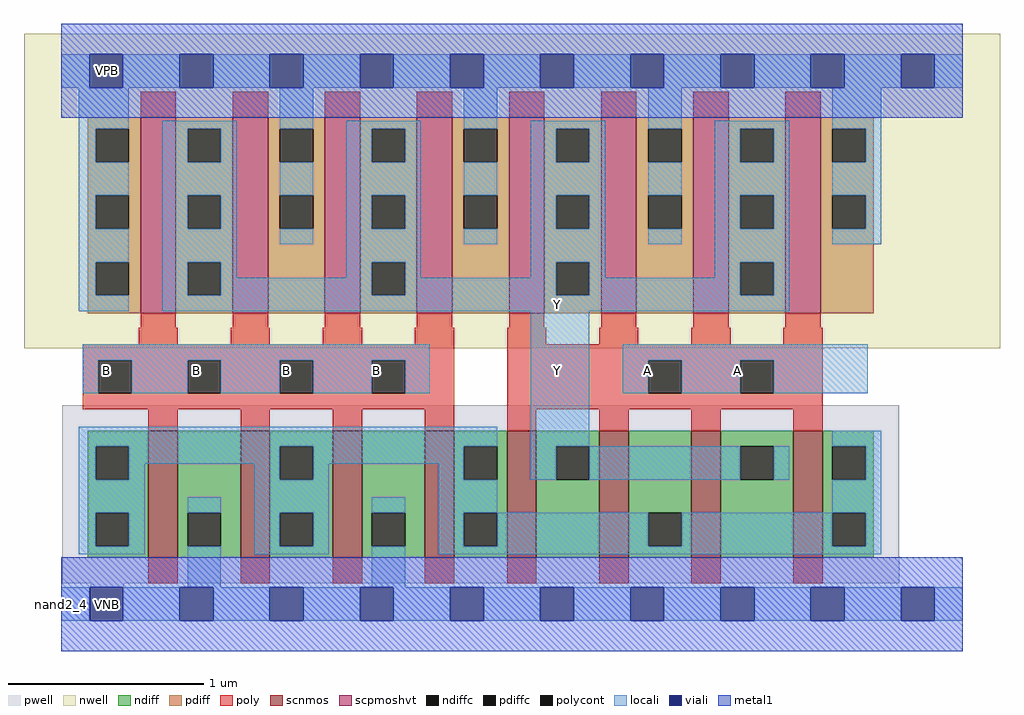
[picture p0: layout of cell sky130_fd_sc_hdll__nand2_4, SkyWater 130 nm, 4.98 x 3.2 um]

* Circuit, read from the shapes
.subckt sky130_fd_sc_hdll__nand2_4 A B VGND VNB VPB VPWR Y
XM1 VGND B n1 VNB sky130_fd_pr__nfet_01v8 w=0.65 l=0.15 m=4
XM2 Y A n1 VNB sky130_fd_pr__nfet_01v8 w=0.65 l=0.15 m=4
XM3 Y B VPWR VPB sky130_fd_pr__pfet_01v8_hvt w=1 l=0.18 m=4
XM4 Y A VPWR VPB sky130_fd_pr__pfet_01v8_hvt w=1 l=0.18 m=4
.ends

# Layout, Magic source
magic
tech sky130A
magscale 1 2
<< nwell >>
rect -38 261 958 582
<< pwell >>
rect 1 21 855 203
rect 30 -17 64 21
<< scnmos >>
rect 89 47 119 177
rect 183 47 213 177
rect 277 47 307 177
rect 371 47 401 177
rect 455 47 485 177
rect 549 47 579 177
rect 643 47 673 177
rect 747 47 777 177
<< scpmoshvt >>
rect 81 297 117 497
rect 175 297 211 497
rect 269 297 305 497
rect 363 297 399 497
rect 457 297 493 497
rect 551 297 587 497
rect 645 297 681 497
rect 739 297 775 497
<< ndiff >>
rect 27 161 89 177
rect 27 127 35 161
rect 69 127 89 161
rect 27 93 89 127
rect 27 59 35 93
rect 69 59 89 93
rect 27 47 89 59
rect 119 93 183 177
rect 119 59 129 93
rect 163 59 183 93
rect 119 47 183 59
rect 213 161 277 177
rect 213 127 223 161
rect 257 127 277 161
rect 213 93 277 127
rect 213 59 223 93
rect 257 59 277 93
rect 213 47 277 59
rect 307 93 371 177
rect 307 59 317 93
rect 351 59 371 93
rect 307 47 371 59
rect 401 161 455 177
rect 401 127 411 161
rect 445 127 455 161
rect 401 93 455 127
rect 401 59 411 93
rect 445 59 455 93
rect 401 47 455 59
rect 485 161 549 177
rect 485 127 505 161
rect 539 127 549 161
rect 485 47 549 127
rect 579 93 643 177
rect 579 59 599 93
rect 633 59 643 93
rect 579 47 643 59
rect 673 161 747 177
rect 673 127 693 161
rect 727 127 747 161
rect 673 47 747 127
rect 777 161 829 177
rect 777 127 787 161
rect 821 127 829 161
rect 777 93 829 127
rect 777 59 787 93
rect 821 59 829 93
rect 777 47 829 59
<< pdiff >>
rect 27 485 81 497
rect 27 451 35 485
rect 69 451 81 485
rect 27 417 81 451
rect 27 383 35 417
rect 69 383 81 417
rect 27 349 81 383
rect 27 315 35 349
rect 69 315 81 349
rect 27 297 81 315
rect 117 485 175 497
rect 117 451 129 485
rect 163 451 175 485
rect 117 417 175 451
rect 117 383 129 417
rect 163 383 175 417
rect 117 349 175 383
rect 117 315 129 349
rect 163 315 175 349
rect 117 297 175 315
rect 211 485 269 497
rect 211 451 223 485
rect 257 451 269 485
rect 211 417 269 451
rect 211 383 223 417
rect 257 383 269 417
rect 211 297 269 383
rect 305 485 363 497
rect 305 451 317 485
rect 351 451 363 485
rect 305 417 363 451
rect 305 383 317 417
rect 351 383 363 417
rect 305 349 363 383
rect 305 315 317 349
rect 351 315 363 349
rect 305 297 363 315
rect 399 485 457 497
rect 399 451 411 485
rect 445 451 457 485
rect 399 417 457 451
rect 399 383 411 417
rect 445 383 457 417
rect 399 297 457 383
rect 493 485 551 497
rect 493 451 505 485
rect 539 451 551 485
rect 493 417 551 451
rect 493 383 505 417
rect 539 383 551 417
rect 493 349 551 383
rect 493 315 505 349
rect 539 315 551 349
rect 493 297 551 315
rect 587 485 645 497
rect 587 451 599 485
rect 633 451 645 485
rect 587 417 645 451
rect 587 383 599 417
rect 633 383 645 417
rect 587 297 645 383
rect 681 485 739 497
rect 681 451 693 485
rect 727 451 739 485
rect 681 417 739 451
rect 681 383 693 417
rect 727 383 739 417
rect 681 349 739 383
rect 681 315 693 349
rect 727 315 739 349
rect 681 297 739 315
rect 775 485 829 497
rect 775 451 787 485
rect 821 451 829 485
rect 775 417 829 451
rect 775 383 787 417
rect 821 383 829 417
rect 775 297 829 383
<< ndiffc >>
rect 35 127 69 161
rect 35 59 69 93
rect 129 59 163 93
rect 223 127 257 161
rect 223 59 257 93
rect 317 59 351 93
rect 411 127 445 161
rect 411 59 445 93
rect 505 127 539 161
rect 599 59 633 93
rect 693 127 727 161
rect 787 127 821 161
rect 787 59 821 93
<< pdiffc >>
rect 35 451 69 485
rect 35 383 69 417
rect 35 315 69 349
rect 129 451 163 485
rect 129 383 163 417
rect 129 315 163 349
rect 223 451 257 485
rect 223 383 257 417
rect 317 451 351 485
rect 317 383 351 417
rect 317 315 351 349
rect 411 451 445 485
rect 411 383 445 417
rect 505 451 539 485
rect 505 383 539 417
rect 505 315 539 349
rect 599 451 633 485
rect 599 383 633 417
rect 693 451 727 485
rect 693 383 727 417
rect 693 315 727 349
rect 787 451 821 485
rect 787 383 821 417
<< poly >>
rect 81 497 117 523
rect 175 497 211 523
rect 269 497 305 523
rect 363 497 399 523
rect 457 497 493 523
rect 551 497 587 523
rect 645 497 681 523
rect 739 497 775 523
rect 81 282 117 297
rect 175 282 211 297
rect 269 282 305 297
rect 363 282 399 297
rect 457 282 493 297
rect 551 282 587 297
rect 645 282 681 297
rect 739 282 775 297
rect 79 265 119 282
rect 173 265 213 282
rect 267 265 307 282
rect 361 265 401 282
rect 22 249 401 265
rect 22 215 38 249
rect 72 215 129 249
rect 163 215 223 249
rect 257 215 317 249
rect 351 215 401 249
rect 22 199 401 215
rect 89 177 119 199
rect 183 177 213 199
rect 277 177 307 199
rect 371 177 401 199
rect 455 265 495 282
rect 549 265 589 282
rect 643 265 683 282
rect 737 265 777 282
rect 455 249 777 265
rect 455 215 599 249
rect 633 215 693 249
rect 727 215 777 249
rect 455 199 777 215
rect 455 177 485 199
rect 549 177 579 199
rect 643 177 673 199
rect 747 177 777 199
rect 89 21 119 47
rect 183 21 213 47
rect 277 21 307 47
rect 371 21 401 47
rect 455 21 485 47
rect 549 21 579 47
rect 643 21 673 47
rect 747 21 777 47
<< polycont >>
rect 38 215 72 249
rect 129 215 163 249
rect 223 215 257 249
rect 317 215 351 249
rect 599 215 633 249
rect 693 215 727 249
<< locali >>
rect 0 527 29 561
rect 63 527 121 561
rect 155 527 213 561
rect 247 527 305 561
rect 339 527 397 561
rect 431 527 489 561
rect 523 527 581 561
rect 615 527 673 561
rect 707 527 765 561
rect 799 527 857 561
rect 891 527 920 561
rect 18 485 69 527
rect 18 451 35 485
rect 18 417 69 451
rect 18 383 35 417
rect 18 349 69 383
rect 18 315 35 349
rect 18 299 69 315
rect 103 485 179 493
rect 103 451 129 485
rect 163 451 179 485
rect 103 417 179 451
rect 103 383 129 417
rect 163 383 179 417
rect 103 349 179 383
rect 223 485 257 527
rect 223 417 257 451
rect 223 367 257 383
rect 291 485 367 493
rect 291 451 317 485
rect 351 451 367 485
rect 291 417 367 451
rect 291 383 317 417
rect 351 383 367 417
rect 103 315 129 349
rect 163 333 179 349
rect 291 349 367 383
rect 411 485 445 527
rect 411 417 445 451
rect 411 367 445 383
rect 479 485 555 493
rect 479 451 505 485
rect 539 451 555 485
rect 479 417 555 451
rect 479 383 505 417
rect 539 383 555 417
rect 291 333 317 349
rect 163 315 317 333
rect 351 333 367 349
rect 479 349 555 383
rect 599 485 633 527
rect 599 417 633 451
rect 599 367 633 383
rect 667 485 743 493
rect 667 451 693 485
rect 727 451 743 485
rect 667 417 743 451
rect 667 383 693 417
rect 727 383 743 417
rect 479 333 505 349
rect 351 315 505 333
rect 539 333 555 349
rect 667 349 743 383
rect 787 485 837 527
rect 821 451 837 485
rect 787 417 837 451
rect 821 383 837 417
rect 787 367 837 383
rect 667 333 693 349
rect 539 315 693 333
rect 727 315 743 349
rect 103 299 743 315
rect 22 249 376 265
rect 22 215 38 249
rect 72 215 129 249
rect 163 215 223 249
rect 257 215 317 249
rect 351 215 376 249
rect 18 161 445 181
rect 18 127 35 161
rect 69 143 223 161
rect 69 127 85 143
rect 18 93 85 127
rect 197 127 223 143
rect 257 143 411 161
rect 257 127 273 143
rect 18 59 35 93
rect 69 59 85 93
rect 18 51 85 59
rect 129 93 163 109
rect 129 17 163 59
rect 197 93 273 127
rect 385 127 411 143
rect 479 161 539 299
rect 573 249 823 265
rect 573 215 599 249
rect 633 215 693 249
rect 727 215 823 249
rect 787 161 837 177
rect 479 127 505 161
rect 539 127 693 161
rect 727 127 743 161
rect 821 127 837 161
rect 197 59 223 93
rect 257 59 273 93
rect 197 51 273 59
rect 317 93 351 109
rect 317 17 351 59
rect 385 93 445 127
rect 787 93 837 127
rect 385 59 411 93
rect 445 59 599 93
rect 633 59 787 93
rect 821 59 837 93
rect 385 51 837 59
rect 0 -17 29 17
rect 63 -17 121 17
rect 155 -17 213 17
rect 247 -17 305 17
rect 339 -17 397 17
rect 431 -17 489 17
rect 523 -17 581 17
rect 615 -17 673 17
rect 707 -17 765 17
rect 799 -17 857 17
rect 891 -17 920 17
<< viali >>
rect 29 527 63 561
rect 121 527 155 561
rect 213 527 247 561
rect 305 527 339 561
rect 397 527 431 561
rect 489 527 523 561
rect 581 527 615 561
rect 673 527 707 561
rect 765 527 799 561
rect 857 527 891 561
rect 29 -17 63 17
rect 121 -17 155 17
rect 213 -17 247 17
rect 305 -17 339 17
rect 397 -17 431 17
rect 489 -17 523 17
rect 581 -17 615 17
rect 673 -17 707 17
rect 765 -17 799 17
rect 857 -17 891 17
<< metal1 >>
rect 0 561 920 592
rect 0 527 29 561
rect 63 527 121 561
rect 155 527 213 561
rect 247 527 305 561
rect 339 527 397 561
rect 431 527 489 561
rect 523 527 581 561
rect 615 527 673 561
rect 707 527 765 561
rect 799 527 857 561
rect 891 527 920 561
rect 0 496 920 527
rect 0 17 920 48
rect 0 -17 29 17
rect 63 -17 121 17
rect 155 -17 213 17
rect 247 -17 305 17
rect 339 -17 397 17
rect 431 -17 489 17
rect 523 -17 581 17
rect 615 -17 673 17
rect 707 -17 765 17
rect 799 -17 857 17
rect 891 -17 920 17
rect 0 -48 920 -17
<< labels >>
flabel locali s 489 221 523 255 0 FreeSans 250 0 0 0 Y
port 7 nsew signal output
flabel locali s 489 289 523 323 0 FreeSans 250 0 0 0 Y
port 7 nsew signal output
flabel locali s 673 221 707 255 0 FreeSans 250 0 0 0 A
port 1 nsew signal input
flabel locali s 581 221 615 255 0 FreeSans 250 0 0 0 A
port 1 nsew signal input
flabel locali s 305 221 339 255 0 FreeSans 250 0 0 0 B
port 2 nsew signal input
flabel locali s 213 221 247 255 0 FreeSans 250 0 0 0 B
port 2 nsew signal input
flabel locali s 29 221 63 255 0 FreeSans 250 0 0 0 B
port 2 nsew signal input
flabel locali s 121 221 155 255 0 FreeSans 250 0 0 0 B
port 2 nsew signal input
flabel nwell s 30 527 64 561 0 FreeSans 200 0 0 0 VPB
port 5 nsew power bidirectional
flabel pwell s 30 -17 64 17 0 FreeSans 200 0 0 0 VNB
port 4 nsew ground bidirectional
flabel metal1 s 30 -17 64 17 0 FreeSans 200 0 0 0 VGND
port 3 nsew ground bidirectional
flabel metal1 s 30 527 64 561 0 FreeSans 200 0 0 0 VPWR
port 6 nsew power bidirectional
rlabel comment s 0 0 0 0 4 nand2_4
<< properties >>
string LEFsite unithd
string LEFclass CORE
string FIXED_BBOX 0 0 920 544
string GDS_FILE $PDKPATH/libs.ref/sky130_fd_sc_hdll/gds/sky130_fd_sc_hdll.gds
string LEFsymmetry X Y R90
string GDS_END 2189644
string GDS_START 2181726
string LEFproperties maskLayoutSubType "abstract" prCellType "standard" originalViewName "layout"
<< end >>
